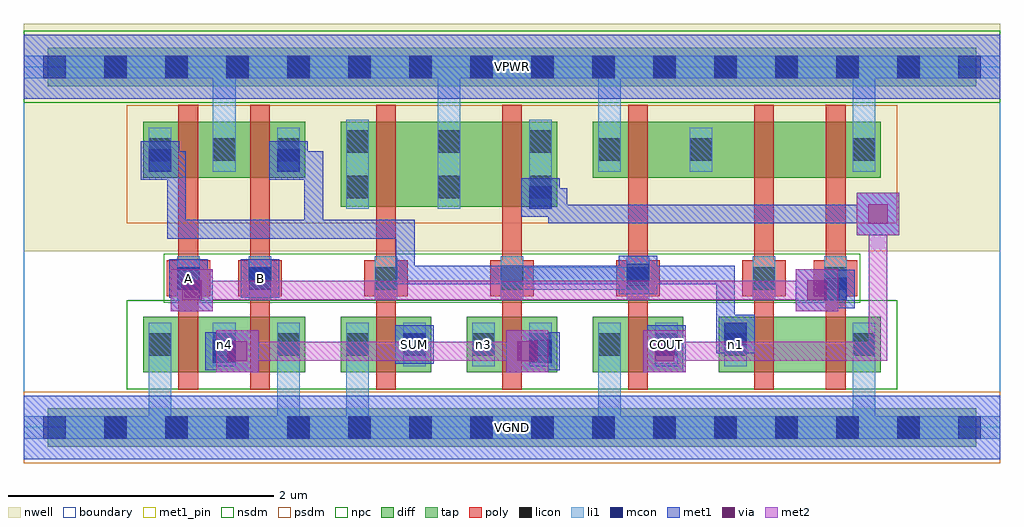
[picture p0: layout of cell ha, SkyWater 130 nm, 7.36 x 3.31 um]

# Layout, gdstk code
import gdstk
lib = gdstk.Library(unit=1e-6, precision=1e-09)
def R(c, l, rs):  # rectangles x0, y0, x1, y1
    for r in rs: c.add(gdstk.rectangle(r[:2], r[2:], *l))
def A(c, l, x, y, w, h, nx, ny, dx, dy):  # array of equal rectangles
    R(c, l, [(x+i*dx, y+j*dy, x+i*dx+w, y+j*dy+h) for i in range(nx) for j in range(ny)])
nwell = (64, 20)
diff = (65, 20)
tap = (65, 44)
poly = (66, 20)
licon = (66, 44)
li1 = (67, 20)
mcon = (67, 44)
met1_pin = (68, 16)
met1 = (68, 20)
via = (68, 44)
met2 = (69, 20)
nsdm = (93, 44)
psdm = (94, 20)
npc = (95, 20)
boundary = (235, 4)

c_ha = lib.new_cell('ha')
R(c_ha, nwell, [(0,1.33,7.36,3.045)])
A(c_ha, diff, 2.39, 0.415, 0.68, 0.42, 3, 1, 0.95, 0)
R(c_ha, diff, [(0.9,0.415,2.12,0.835), (5.24,0.415,6.46,0.835), (2.39,1.665,4.02,2.305), (0.9,1.885,2.12,2.305), (4.29,1.885,6.46,2.305)])
R(c_ha, tap, [(0.18,-0.145,7.18,0.145), (0.18,2.575,7.18,2.865)])
A(c_ha, poly, 1.705, 0.285, 0.15, 2.15, 5, 1, 0.95, 0)
A(c_ha, poly, 1.615, 0.99, 0.33, 0.27, 5, 1, 0.95, 0)
R(c_ha, poly, [(1.165,0.285,1.315,2.435), (6.045,0.285,6.195,2.435), (1.075,0.99,1.405,1.26), (5.955,0.99,6.285,1.26)])
A(c_ha, licon, 0.605, -0.085, 0.17, 0.17, 14, 2, 0.46, 2.72)
A(c_ha, licon, 0.94, 0.54, 0.17, 0.17, 3, 2, 0.485, 1.47)
A(c_ha, licon, 1.695, 1.04, 0.17, 0.17, 5, 1, 0.95, 0)
A(c_ha, licon, 2.43, 1.73, 0.17, 0.17, 3, 2, 0.69, 0.34)
R(c_ha, licon, [(2.43,0.54,2.6,0.71), (2.86,0.54,3.03,0.71), (3.38,0.54,3.55,0.71), (3.81,0.54,3.98,0.71), (4.33,0.54,4.5,0.71), (4.76,0.54,4.93,0.71), (5.28,0.54,5.45,0.71), (6.25,0.54,6.42,0.71), (1.155,1.04,1.325,1.21), (6.035,1.04,6.205,1.21), (4.33,2.01,4.5,2.18), (5.02,2.01,5.19,2.18), (6.25,2.01,6.42,2.18)])
A(c_ha, li1, 0.94, 0.46, 0.17, 0.33, 3, 2, 0.485, 1.47)
A(c_ha, li1, 1.695, 0.96, 0.17, 0.33, 5, 1, 0.95, 0)
A(c_ha, li1, 2.43, 1.65, 0.17, 0.67, 3, 1, 0.69, 0)
R(c_ha, li1, [(0,-0.085,7.36,0.085), (0.94,-0.085,1.11,0.79), (1.91,-0.085,2.08,0.79), (2.43,-0.085,2.6,0.79), (4.33,-0.085,4.5,0.79), (6.25,-0.085,6.42,0.79), (2.43,0.46,2.6,0.79), (2.86,0.46,3.03,0.79), (3.38,0.46,3.55,0.79), (3.81,0.46,3.98,0.79), (4.33,0.46,4.5,0.79), (4.76,0.46,4.93,0.79), (5.28,0.46,5.45,0.79), (6.25,0.46,6.42,0.79), (1.155,0.96,1.325,1.29), (6.035,0.96,6.205,1.29), (3.595,1.04,4.715,1.21), (3.12,1.65,3.29,2.805), (1.425,1.93,1.595,2.805), (4.33,1.93,4.5,2.26), (4.33,1.93,4.5,2.805), (5.02,1.93,5.19,2.26), (6.25,1.93,6.42,2.26), (6.25,1.93,6.42,2.805), (0,2.635,7.36,2.805)])
A(c_ha, mcon, 0.145, -0.085, 0.17, 0.17, 16, 2, 0.46, 2.72)
R(c_ha, mcon, [(1.425,0.49,1.595,0.66), (3.81,0.49,3.98,0.66), (2.86,0.54,3.03,0.71), (4.76,0.54,4.93,0.71), (5.28,0.62,5.45,0.79), (6.035,0.96,6.205,1.13), (1.155,1.04,1.325,1.21), (1.695,1.04,1.865,1.21), (4.545,1.065,4.715,1.235), (3.81,1.65,3.98,1.82), (0.94,1.93,1.11,2.1), (1.91,1.93,2.08,2.1)])
R(c_ha, met1_pin, [(0,-0.24,7.36,0.24), (2.8,0.48,3.09,0.77), (4.7,0.48,4.99,0.77), (1.095,0.98,1.385,1.27), (1.635,0.98,1.925,1.27), (0,2.48,7.36,2.96)])
R(c_ha, met1, [(0,-0.24,7.36,0.24), (1.45,0.415,1.77,0.735), (3.635,0.415,3.955,0.735), (4.67,0.415,4.99,0.735), (1.365,0.43,1.655,0.72), (3.75,0.43,4.04,0.72), (2.8,0.48,3.09,0.77), (4.7,0.48,4.99,0.77), (1.44,0.505,1.68,0.645), (3.725,0.505,3.965,0.645), (4.76,0.505,4.9,0.645), (5.22,0.56,5.51,0.85), (5.22,0.635,5.435,0.775), (5.22,0.635,5.36,0.875), (5.22,0.735,5.36,1.22), (1.105,0.875,1.425,1.195), (5.82,0.875,6.14,1.195), (5.975,0.9,6.265,1.19), (1.195,0.965,1.335,1.22), (5.91,0.965,6.05,1.115), (5.91,0.975,6.19,1.115), (1.095,0.98,1.385,1.27), (1.635,0.98,1.925,1.27), (4.485,1.005,4.775,1.295), (1.195,1.08,1.335,1.22), (2.805,1.08,2.945,1.565), (2.805,1.08,4.9,1.22), (4.56,1.08,4.9,1.22), (4.76,1.08,5.36,1.22), (1.08,1.425,1.22,1.91), (1.08,1.425,2.255,1.565), (2.115,1.425,2.255,1.91), (2.115,1.425,2.945,1.565), (6.28,1.45,6.6,1.77), (3.955,1.54,4.095,1.805), (3.955,1.54,6.51,1.68), (3.75,1.59,4.04,1.88), (3.825,1.665,4.095,1.805), (1.08,1.77,1.22,2.085), (2.115,1.77,2.255,2.085), (0.88,1.87,1.17,2.16), (1.85,1.87,2.14,2.16), (0.955,1.945,1.22,2.085), (1.925,1.945,2.255,2.085), (0,2.48,7.36,2.96)])
R(c_ha, via, [(1.535,0.5,1.685,0.65), (3.72,0.5,3.87,0.65), (4.755,0.5,4.905,0.65), (1.19,0.96,1.34,1.11), (5.905,0.96,6.055,1.11), (6.365,1.535,6.515,1.685)])
R(c_ha, met2, [(1.45,0.415,1.77,0.735), (3.635,0.415,3.955,0.735), (4.67,0.415,4.99,0.735), (1.54,0.505,3.865,0.645), (4.76,0.505,6.51,0.645), (6.37,0.505,6.51,1.68), (1.105,0.875,1.425,1.195), (5.82,0.875,6.14,1.195), (1.195,0.965,6.05,1.105), (6.28,1.45,6.6,1.77)])
R(c_ha, nsdm, [(0.775,0.29,6.585,0.96), (0,2.45,7.36,2.99)])
R(c_ha, psdm, [(0,-0.27,7.36,0.27), (0.775,1.54,6.585,2.43)])
R(c_ha, npc, [(1.055,0.94,6.305,1.31)])
R(c_ha, boundary, [(0,0,7.36,2.72)])
c_ha.add(gdstk.Label('n4', (1.51,0.625), layer=67, texttype=5))
c_ha.add(gdstk.Label('n3', (3.465,0.625), layer=67, texttype=5))
c_ha.add(gdstk.Label('n1', (5.365,0.625), layer=67, texttype=5))
c_ha.add(gdstk.Label('A', (1.24,1.125), layer=68, texttype=5))
c_ha.add(gdstk.Label('B', (1.78,1.125), layer=68, texttype=5))
c_ha.add(gdstk.Label('SUM', (2.945,0.625), layer=68, texttype=5))
c_ha.add(gdstk.Label('COUT', (4.845,0.625), layer=68, texttype=5))
c_ha.add(gdstk.Label('VPWR', (3.68,2.72), layer=68, texttype=5))
c_ha.add(gdstk.Label('VGND', (3.68,0), layer=68, texttype=5))
c_ha.add(gdstk.Label('A', (1.24,1.125), layer=68, texttype=16))
c_ha.add(gdstk.Label('B', (1.78,1.125), layer=68, texttype=16))
c_ha.add(gdstk.Label('SUM', (2.945,0.625), layer=68, texttype=16))
c_ha.add(gdstk.Label('COUT', (4.845,0.625), layer=68, texttype=16))
c_ha.add(gdstk.Label('VPWR', (3.68,2.72), layer=68, texttype=16))
c_ha.add(gdstk.Label('VGND', (3.68,0), layer=68, texttype=16))

lib.write_gds('ha.gds')
